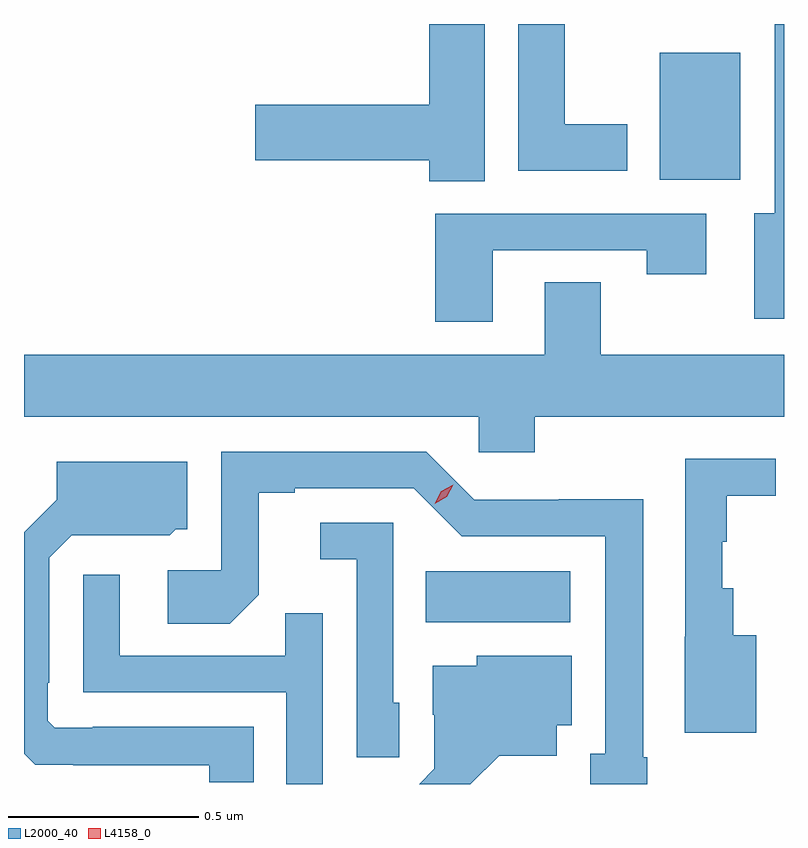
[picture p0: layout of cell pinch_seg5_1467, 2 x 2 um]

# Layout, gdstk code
import gdstk
lib = gdstk.Library(unit=1e-6, precision=1e-09)
def R(c, l, rs):  # rectangles x0, y0, x1, y1
    for r in rs: c.add(gdstk.rectangle(r[:2], r[2:], *l))
def P(c, l, *ps):  # polygons
    for p in ps: c.add(gdstk.Polygon(p, *l))
L2000_40 = (2000, 40)
L4158_0 = (4158, 0)

pinch_seg5_1467 = lib.new_cell('pinch_seg5_1467')
R(pinch_seg5_1467, L2000_40, [(124.048,906.836,124.429,906.97), (124.664,908,124.876,908.335)])
P(pinch_seg5_1467, L2000_40, [(124.204,908.41),(124.058,908.41),(124.058,908.198),(123.6,908.198),(123.6,908.051),(124.058,908.051),(124.058,907.996),(124.204,907.996)],
  [(124.991,908.41),(124.967,908.41),(124.967,907.912),(124.913,907.912),(124.913,907.634),(124.991,907.634)],
  [(124.579,908.146),(124.414,908.146),(124.414,908.41),(124.292,908.41),(124.292,908.024),(124.579,908.024)],
  [(124.225,907.815),(124.63,907.815),(124.63,907.752),(124.786,907.752),(124.786,907.911),(124.073,907.911),(124.073,907.626),(124.225,907.626)],
  [(124.335,907.376),(124.991,907.376),(124.991,907.54),(124.509,907.54),(124.509,907.73),(124.361,907.73),(124.361,907.54),(122.991,907.54),(122.991,907.376),(124.188,907.376),(124.188,907.283),(124.335,907.283)],
  [(124.631,906.481),(124.621,906.481),(124.621,907.16),(124.398,907.16),(124.398,907.158),(124.176,907.158),(124.05,907.284),(123.51,907.284),(123.51,906.972),(123.369,906.972),(123.369,906.832),(123.533,906.832),(123.609,906.908),(123.609,907.176),(123.703,907.176),(123.703,907.188),(124.017,907.188),(124.143,907.062),(124.52,907.062),(124.52,906.489),(124.481,906.489),(124.481,906.41),(124.631,906.41)],
  [(124.918,906.802),(124.858,906.802),(124.858,906.925),(124.829,906.925),(124.829,907.047),(124.84,907.047),(124.84,907.168),(124.969,907.168),(124.969,907.266),(124.731,907.266),(124.731,906.798),(124.73,906.798),(124.73,906.545),(124.918,906.545)],
  [(123.596,906.561),(123.172,906.561),(123.172,906.558),(123.072,906.558),(123.054,906.576),(123.054,906.676),(123.057,906.676),(123.057,907.005),(123.117,907.065),(123.24,907.065),(123.24,907.064),(123.374,907.064),(123.39,907.08),(123.421,907.08),(123.421,907.258),(123.077,907.258),(123.077,907.158),(122.991,907.072),(122.991,906.49),(123.02,906.461),(123.121,906.461),(123.121,906.46),(123.478,906.46),(123.478,906.414),(123.596,906.414)],
  [(123.978,906.624),(123.963,906.624),(123.963,907.098),(123.771,907.098),(123.771,907.001),(123.867,907.001),(123.867,906.481),(123.978,906.481)],
  [(123.777,906.86),(123.679,906.86),(123.679,906.747),(123.243,906.747),(123.243,906.961),(123.147,906.961),(123.147,906.651),(123.681,906.651),(123.681,906.41),(123.777,906.41)],
  [(124.241,906.485),(124.393,906.485),(124.393,906.564),(124.432,906.564),(124.432,906.748),(124.182,906.748),(124.182,906.721),(124.067,906.721),(124.067,906.592),(124.071,906.592),(124.071,906.45),(124.031,906.41),(124.165,906.41)])
P(pinch_seg5_1467, L4158_0, [(124.072,907.147),(124.072,907.147),(124.089,907.18),(124.121,907.198),(124.121,907.198),(124.121,907.198),(124.104,907.166),(124.072,907.147)])

lib.write_gds('pinch_seg5_1467.gds')
